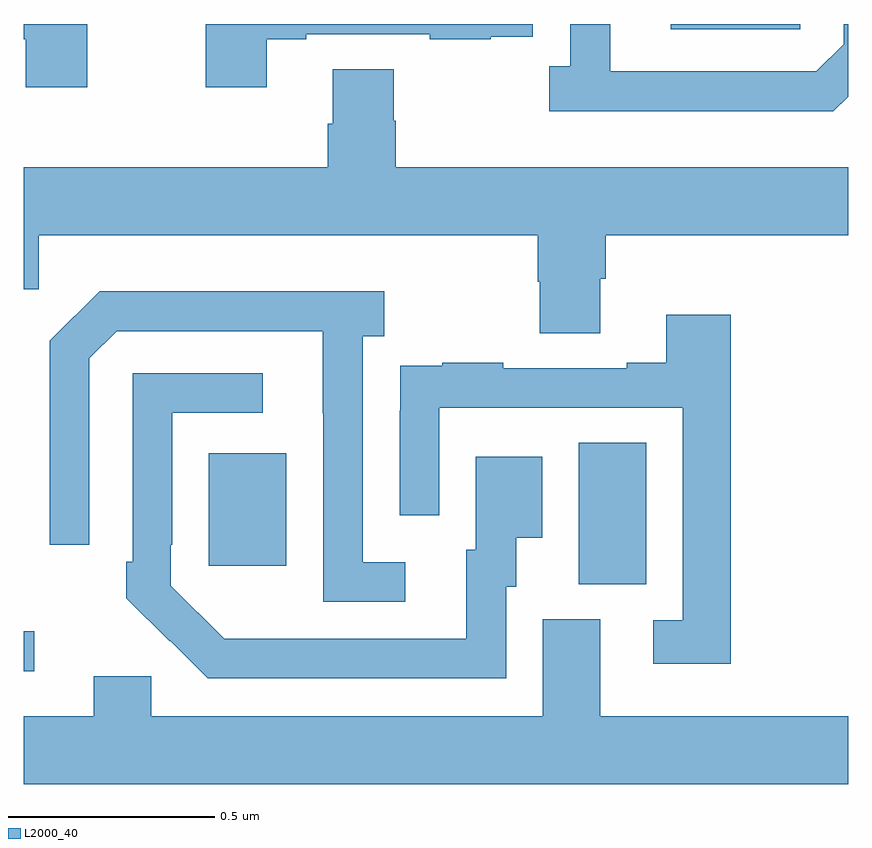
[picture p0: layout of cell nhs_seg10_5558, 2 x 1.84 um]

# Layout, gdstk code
import gdstk
lib = gdstk.Library(unit=1e-6, precision=1e-09)
def R(c, l, rs):  # rectangles x0, y0, x1, y1
    for r in rs: c.add(gdstk.rectangle(r[:2], r[2:], *l))
def P(c, l, *ps):  # polygons
    for p in ps: c.add(gdstk.Polygon(p, *l))
L2000_40 = (2000, 40)

nhs_seg10_5558 = lib.new_cell('nhs_seg10_5558')
R(nhs_seg10_5558, L2000_40, [(180,1293.93,180.025,1294.027), (181.346,1294.141,181.51,1294.484), (180.449,1294.185,180.637,1294.459), (181.569,1295.487,181.884,1295.5)])
P(nhs_seg10_5558, L2000_40, [(180.589,1295.463),(180.685,1295.463),(180.685,1295.475),(180.985,1295.475),(180.985,1295.463),(181.133,1295.463),(181.133,1295.469),(181.235,1295.469),(181.235,1295.5),(180.441,1295.5),(180.441,1295.346),(180.589,1295.346)],
  [(182,1295.324),(182,1295.5),(181.989,1295.5),(181.989,1295.451),(181.923,1295.385),(181.423,1295.385),(181.423,1295.5),(181.326,1295.5),(181.326,1295.398),(181.275,1295.398),(181.275,1295.288),(181.964,1295.288)],
  [(180.154,1295.5),(180,1295.5),(180,1295.463),(180.005,1295.463),(180.005,1295.346),(180.154,1295.346)],
  [(181.399,1294.882),(181.412,1294.882),(181.412,1294.988),(182,1294.988),(182,1295.152),(180.902,1295.152),(180.902,1295.265),(180.897,1295.265),(180.897,1295.39),(180.749,1295.39),(180.749,1295.258),(180.737,1295.258),(180.737,1295.152),(180,1295.152),(180,1294.857),(180.036,1294.857),(180.036,1294.988),(181.247,1294.988),(181.247,1294.875),(181.252,1294.875),(181.252,1294.75),(181.399,1294.75)],
  [(180.925,1294.194),(180.822,1294.194),(180.822,1294.742),(180.874,1294.742),(180.874,1294.852),(180.184,1294.852),(180.063,1294.731),(180.063,1294.236),(180.159,1294.236),(180.159,1294.689),(180.225,1294.755),(180.725,1294.755),(180.725,1294.555),(180.726,1294.555),(180.726,1294.098),(180.925,1294.098)],
  [(181.715,1294.795),(181.559,1294.795),(181.559,1294.678),(181.463,1294.678),(181.463,1294.665),(181.163,1294.665),(181.163,1294.678),(181.015,1294.678),(181.015,1294.671),(180.913,1294.671),(180.913,1294.562),(180.912,1294.562),(180.912,1294.308),(181.008,1294.308),(181.008,1294.569),(181.599,1294.569),(181.599,1294.053),(181.527,1294.053),(181.527,1293.948),(181.715,1293.948)],
  [(181.17,1294.134),(181.195,1294.134),(181.195,1294.253),(181.258,1294.253),(181.258,1294.45),(181.097,1294.45),(181.097,1294.224),(181.073,1294.224),(181.073,1294.008),(180.589,1294.008),(180.589,1294.009),(180.486,1294.009),(180.357,1294.137),(180.357,1294.237),(180.36,1294.237),(180.36,1294.557),(180.58,1294.557),(180.58,1294.653),(180.264,1294.653),(180.264,1294.195),(180.249,1294.195),(180.249,1294.107),(180.354,1294.002),(180.355,1294.003),(180.446,1293.912),(181.17,1293.912)],
  [(182,1293.82),(181.399,1293.82),(181.399,1294.056),(181.259,1294.056),(181.259,1293.82),(180.309,1293.82),(180.309,1293.918),(180.17,1293.918),(180.17,1293.82),(180,1293.82),(180,1293.656),(182,1293.656)])

lib.write_gds('nhs_seg10_5558.gds')
